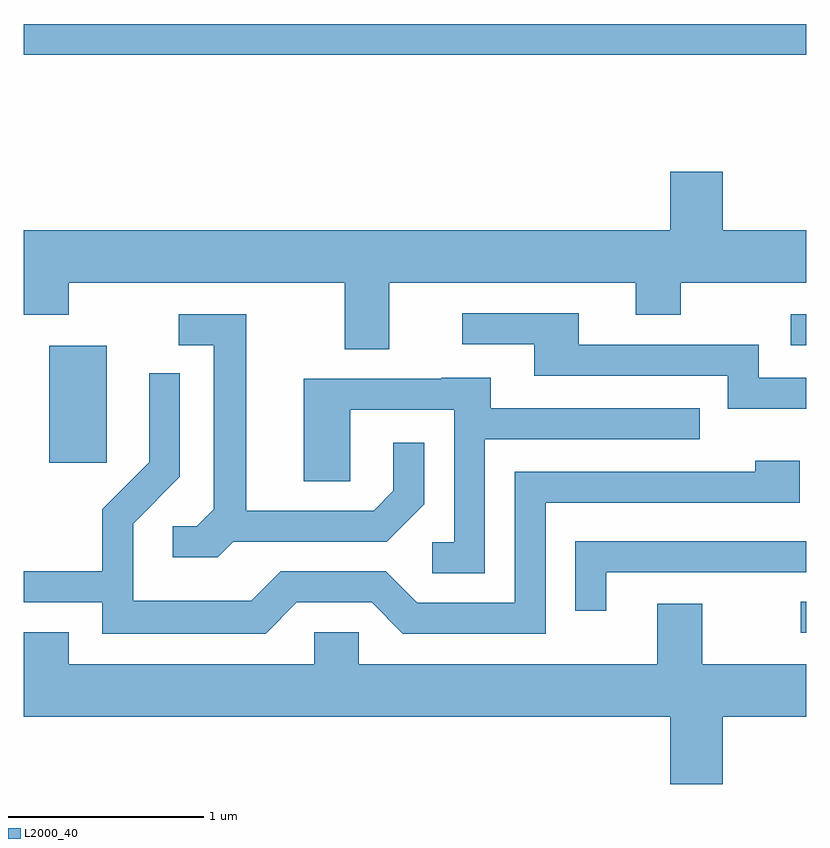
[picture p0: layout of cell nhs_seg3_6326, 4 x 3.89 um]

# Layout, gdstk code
import gdstk
lib = gdstk.Library(unit=1e-6, precision=1e-09)
def R(c, l, rs):  # rectangles x0, y0, x1, y1
    for r in rs: c.add(gdstk.rectangle(r[:2], r[2:], *l))
def P(c, l, *ps):  # polygons
    for p in ps: c.add(gdstk.Polygon(p, *l))
L2000_40 = (2000, 40)

nhs_seg3_6326 = lib.new_cell('nhs_seg3_6326')
R(nhs_seg3_6326, L2000_40, [(375.583,1128.666,375.611,1128.824), (371.741,1129.536,372.034,1130.134), (375.533,1130.136,375.611,1130.294), (371.611,1131.621,375.611,1131.779)])
P(nhs_seg3_6326, L2000_40, [(373.479,1130.456),(374.741,1130.456),(374.741,1130.291),(374.969,1130.291),(374.969,1130.456),(375.611,1130.456),(375.611,1130.724),(375.184,1130.724),(375.184,1131.024),(374.916,1131.024),(374.916,1130.724),(371.611,1130.724),(371.611,1130.291),(371.839,1130.291),(371.839,1130.456),(373.251,1130.456),(373.251,1130.116),(373.479,1130.116)],
  [(375.611,1129.969),(375.369,1129.969),(375.369,1130.139),(374.449,1130.139),(374.449,1130.299),(373.853,1130.299),(373.853,1130.141),(374.221,1130.141),(374.221,1129.981),(375.211,1129.981),(375.211,1129.811),(375.611,1129.811)],
  [(372.682,1129.131),(373.467,1129.131),(373.659,1129.324),(373.659,1129.638),(373.501,1129.638),(373.501,1129.392),(373.399,1129.289),(372.749,1129.289),(372.749,1130.294),(372.403,1130.294),(372.403,1130.136),(372.581,1130.136),(372.581,1129.297),(372.494,1129.209),(372.373,1129.209),(372.373,1129.051),(372.602,1129.051)],
  [(373.007,1128.821),(373.389,1128.821),(373.549,1128.661),(374.279,1128.661),(374.279,1129.331),(375.579,1129.331),(375.579,1129.544),(375.351,1129.544),(375.351,1129.489),(374.121,1129.489),(374.121,1128.819),(373.622,1128.819),(373.462,1128.979),(372.924,1128.979),(372.774,1128.829),(372.169,1128.829),(372.169,1129.224),(372.409,1129.464),(372.409,1129.993),(372.251,1129.993),(372.251,1129.537),(372.011,1129.297),(372.011,1128.979),(371.611,1128.979),(371.611,1128.821),(372.011,1128.821),(372.011,1128.661),(372.847,1128.661)],
  [(373.969,1129.656),(375.068,1129.656),(375.068,1129.814),(373.999,1129.814),(373.999,1129.969),(373.745,1129.969),(373.745,1129.964),(373.041,1129.964),(373.041,1129.441),(373.279,1129.441),(373.279,1129.806),(373.811,1129.806),(373.811,1129.129),(373.698,1129.129),(373.698,1128.971),(373.969,1128.971)],
  [(374.589,1128.976),(375.611,1128.976),(375.611,1129.134),(374.431,1129.134),(374.431,1128.778),(374.589,1128.778)],
  [(375.184,1128.236),(375.611,1128.236),(375.611,1128.504),(375.079,1128.504),(375.079,1128.814),(374.851,1128.814),(374.851,1128.504),(373.324,1128.504),(373.324,1128.669),(373.096,1128.669),(373.096,1128.504),(371.839,1128.504),(371.839,1128.669),(371.611,1128.669),(371.611,1128.236),(374.916,1128.236),(374.916,1127.892),(375.184,1127.892)])

lib.write_gds('nhs_seg3_6326.gds')
